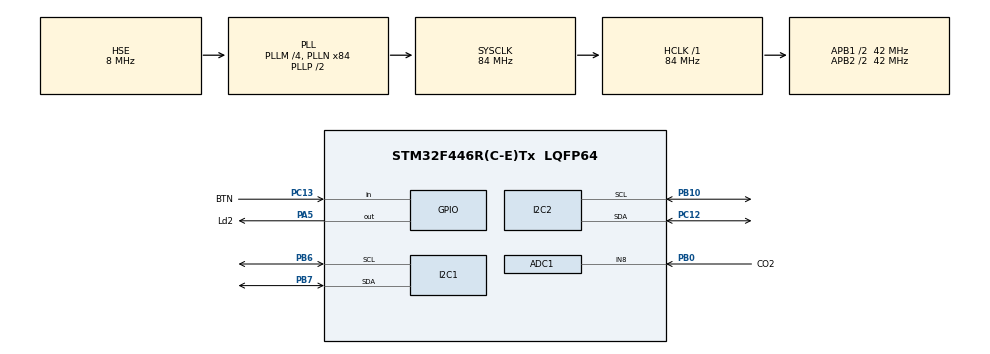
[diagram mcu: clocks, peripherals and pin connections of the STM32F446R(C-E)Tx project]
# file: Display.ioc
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ADC1.Channel-0\#ChannelRegularConversion=ADC_CHANNEL_8
ADC1.ClockPrescaler=ADC_CLOCK_SYNC_PCLK_DIV8
ADC1.NbrOfConversionFlag=1
ADC1.Rank-0\#ChannelRegularConversion=1
ADC1.SamplingTime-0\#ChannelRegularConversion=ADC_SAMPLETIME_3CYCLES
ADC1.master=1
I2C1.I2C_Mode=I2C_Fast
I2C2.I2C_Mode=I2C_Fast
Mcu.Family=STM32F4
Mcu.Name=STM32F446R(C-E)Tx
Mcu.Package=LQFP64
NVIC.PriorityGroup=NVIC_PRIORITYGROUP_0
PA5.GPIO_Label=Ld2
PA5.PinState=GPIO_PIN_RESET
PA5.Signal=GPIO_Output
PB0.GPIO_Label=CO2
PB0.Signal=ADCx_IN8
PB10.Mode=I2C
PB10.Signal=I2C2_SCL
PB6.Mode=I2C
PB6.Signal=I2C1_SCL
PB7.Mode=I2C
PB7.Signal=I2C1_SDA
PC12.Mode=I2C
PC12.Signal=I2C2_SDA
PC13.GPIO_Label=BTN
PC13.GPIO_Mode=GPIO_MODE_INPUT
PC13.GPIO_PuPd=GPIO_NOPULL
PC13.Signal=GPIO_Input
PH0-OSC_IN.Mode=HSE-External-Oscillator
PH0-OSC_IN.Signal=RCC_OSC_IN
PH1-OSC_OUT.Mode=HSE-External-Oscillator
PH1-OSC_OUT.Signal=RCC_OSC_OUT
ProjectManager.HeapSize=0x200
ProjectManager.StackSize=0x400
ProjectManager.TargetToolchain=STM32CubeIDE
RCC.48MHZClocksFreq_Value=84000000
RCC.AHBFreq_Value=84000000
RCC.APB1CLKDivider=RCC_HCLK_DIV2
RCC.APB1Freq_Value=42000000
RCC.APB1TimFreq_Value=84000000
RCC.APB2CLKDivider=RCC_HCLK_DIV2
RCC.APB2Freq_Value=42000000
RCC.APB2TimFreq_Value=84000000
RCC.CortexFreq_Value=84000000
RCC.FLatency-AdvancedSettings=FLASH_LATENCY_2
RCC.HCLKFreq_Value=84000000
RCC.HSE_VALUE=8000000
RCC.HSI_VALUE=16000000
RCC.LSE_VALUE=32742
RCC.PLLM=4
RCC.PLLN=84
RCC.PLLSourceVirtual=RCC_PLLSOURCE_HSE
RCC.SYSCLKFreq_VALUE=84000000
RCC.SYSCLKSource=RCC_SYSCLKSOURCE_PLLCLK
RCC.USBFreq_Value=84000000
RCC.VCOOutputFreq_Value=168000000
SH.ADCx_IN8.0=ADC1_IN8,IN8
board=NUCLEO-F446RE

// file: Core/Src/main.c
/* USER CODE BEGIN Header */
/**
 ******************************************************************************
 * @file           : main.c
 * @brief          : Main program body
 ******************************************************************************
 * @attention
 *
 * <h2><center>&copy; Copyright (c) 2020 STMicroelectronics.
 * All rights reserved.</center></h2>
 *
 * This software component is licensed by ST under BSD 3-Clause license,
 * the "License"; You may not use this file except in compliance with the
 * License. You may obtain a copy of the License at:
 *                        opensource.org/licenses/BSD-3-Clause
 *
 ******************************************************************************
 */
/* USER CODE END Header */

#include "main.h"

/* USER CODE BEGIN Includes */
#include "ssd1306.h"
#include "mq135.h"
#include "fonts.h"
#include "image.h"
#include <string.h>
#include "BME280.h"
#include <stdio.h>
/* USER CODE END Includes */

/* USER CODE BEGIN PD */
#define SSD1306_128X64
/* USER CODE END PD */

ADC_HandleTypeDef hadc1;

I2C_HandleTypeDef hi2c1;
I2C_HandleTypeDef hi2c2;

/* USER CODE BEGIN PV */
char str1[100];
/* USER CODE END PV */

void SystemClock_Config(void);
static void MX_GPIO_Init(void);
static void MX_I2C1_Init(void);
static void MX_I2C2_Init(void);
static void MX_ADC1_Init(void);

int main(void)
{
  /* USER CODE BEGIN 1 */
	float tf = 0.0f, pf = 0.0f, af = 0.0f, hf = 0.0f, co2 = 0.0f;
	int val = 0;
  /* USER CODE END 1 */

  /* MCU Configuration--------------------------------------------------------*/

  /* Reset of all peripherals, Initializes the Flash interface and the Systick. */
  HAL_Init();

  /* Configure the system clock */
  SystemClock_Config();

  /* Initialize all configured peripherals */
  MX_GPIO_Init();
  MX_I2C1_Init();
  MX_I2C2_Init();
  MX_ADC1_Init();
  /* USER CODE BEGIN 2 */

	ssd1306_Init();
	ssd1306_FlipScreenVertically();
	ssd1306_SetColor(White);
	ssd1306_SetCursor(0, 0);
	ssd1306_UpdateScreen();

	BME280_Init();

	int btn = 0;
	float co2_a[10];
	float co2_old = 0;
	int iter = 0;
  /* USER CODE END 2 */

  /* Infinite loop */
  /* USER CODE BEGIN WHILE */
	while (1) {
		ssd1306_Clear();
		ssd1306_SetCursor(0, 0);
		HAL_ADC_Start(&hadc1);
		HAL_ADC_PollForConversion(&hadc1, 100);
		val = HAL_ADC_GetValue(&hadc1);
		HAL_ADC_Stop(&hadc1);
		tf = BME280_ReadTemperature();
		pf = BME280_ReadPressure();
		hf = BME280_ReadHumidity();
		af = BME280_ReadAltitude(SEALEVELPRESSURE_PA);
		co2_old = co2;
		co2_a[iter] = getCorrectedRZero(tf, hf, val);
		co2 = 0;
		for(int i = 0; i<10; i++ ){
			co2 += co2_a[i]/10;
		}
		co2 = (co2+co2_old)/2;
		switch (btn) {
		default:
			btn = 0;

		case 0:
			ssd1306_SetCursor(0, 0);
			ssd1306_WriteString("Temperature:", Font_11x18);
			sprintf(str1, "%.3f *C", tf);
			ssd1306_SetCursor(0, 25);
			ssd1306_WriteString(str1, Font_11x18);
			break;

		case 1:
			ssd1306_SetCursor(0, 0);
			ssd1306_WriteString("Pressure:", Font_11x18);
			sprintf(str1, "%.2fPa", pf);
			ssd1306_SetCursor(0, 25);
			ssd1306_WriteString(str1, Font_11x18);
			break;

		case 2:
			ssd1306_SetCursor(0, 0);
			ssd1306_WriteString("Pressure:", Font_11x18);
			sprintf(str1, "%.3fmmHg", pf * 0.000750061683f);
			ssd1306_SetCursor(0, 25);
			ssd1306_WriteString(str1, Font_11x18);
			break;

		case 3:
			ssd1306_SetCursor(0, 0);
			ssd1306_WriteString("Humidity:", Font_11x18);
			sprintf(str1, "%.3f %%", hf);
			ssd1306_SetCursor(0, 25);
			ssd1306_WriteString(str1, Font_11x18);
			break;

		case 4:
			ssd1306_SetCursor(0, 0);
			ssd1306_WriteString("Altitude:", Font_11x18);
			sprintf(str1, "%.3f m", af);
			ssd1306_SetCursor(0, 25);
			ssd1306_WriteString(str1, Font_11x18);
			break;

		case 5:
			ssd1306_SetCursor(0, 0);
			ssd1306_WriteString("CO2:", Font_11x18);
			sprintf(str1, "%.3f ppm", co2);
			ssd1306_SetCursor(0, 25);
			ssd1306_WriteString(str1, Font_11x18);
			break;
		}
		ssd1306_UpdateScreen();
		HAL_Delay(1000);
		if (!HAL_GPIO_ReadPin(BTN_GPIO_Port, BTN_Pin)) {
			btn++;
			HAL_GPIO_TogglePin(Ld2_GPIO_Port, Ld2_Pin);
		}
		iter++;
		if (iter == 10) {
			iter = 0;
		}
    /* USER CODE END WHILE */

	}
}

void SystemClock_Config(void)
{
  RCC_OscInitTypeDef RCC_OscInitStruct = {0};
  RCC_ClkInitTypeDef RCC_ClkInitStruct = {0};

  /** Configure the main internal regulator output voltage
  */
  __HAL_RCC_PWR_CLK_ENABLE();
  __HAL_PWR_VOLTAGESCALING_CONFIG(PWR_REGULATOR_VOLTAGE_SCALE3);
  /** Initializes the CPU, AHB and APB busses clocks
  */
  RCC_OscInitStruct.OscillatorType = RCC_OSCILLATORTYPE_HSE;
  RCC_OscInitStruct.HSEState = RCC_HSE_ON;
  RCC_OscInitStruct.PLL.PLLState = RCC_PLL_ON;
  RCC_OscInitStruct.PLL.PLLSource = RCC_PLLSOURCE_HSE;
  RCC_OscInitStruct.PLL.PLLM = 4;
  RCC_OscInitStruct.PLL.PLLN = 84;
  RCC_OscInitStruct.PLL.PLLP = RCC_PLLP_DIV2;
  RCC_OscInitStruct.PLL.PLLQ = 2;
  RCC_OscInitStruct.PLL.PLLR = 2;
  if (HAL_RCC_OscConfig(&RCC_OscInitStruct) != HAL_OK)
  {
    Error_Handler();
  }
  /** Initializes the CPU, AHB and APB busses clocks
  */
  RCC_ClkInitStruct.ClockType = RCC_CLOCKTYPE_HCLK|RCC_CLOCKTYPE_SYSCLK
                              |RCC_CLOCKTYPE_PCLK1|RCC_CLOCKTYPE_PCLK2;
  RCC_ClkInitStruct.SYSCLKSource = RCC_SYSCLKSOURCE_PLLCLK;
  RCC_ClkInitStruct.AHBCLKDivider = RCC_SYSCLK_DIV1;
  RCC_ClkInitStruct.APB1CLKDivider = RCC_HCLK_DIV2;
  RCC_ClkInitStruct.APB2CLKDivider = RCC_HCLK_DIV2;

  if (HAL_RCC_ClockConfig(&RCC_ClkInitStruct, FLASH_LATENCY_2) != HAL_OK)
  {
    Error_Handler();
  }
}

static void MX_ADC1_Init(void)
{

  ADC_ChannelConfTypeDef sConfig = {0};

  /** Configure the global features of the ADC (Clock, Resolution, Data Alignment and number of conversion)
  */
  hadc1.Instance = ADC1;
  hadc1.Init.ClockPrescaler = ADC_CLOCK_SYNC_PCLK_DIV8;
  hadc1.Init.Resolution = ADC_RESOLUTION_12B;
  hadc1.Init.ScanConvMode = DISABLE;
  hadc1.Init.ContinuousConvMode = DISABLE;
  hadc1.Init.DiscontinuousConvMode = DISABLE;
  hadc1.Init.ExternalTrigConvEdge = ADC_EXTERNALTRIGCONVEDGE_NONE;
  hadc1.Init.ExternalTrigConv = ADC_SOFTWARE_START;
  hadc1.Init.DataAlign = ADC_DATAALIGN_RIGHT;
  hadc1.Init.NbrOfConversion = 1;
  hadc1.Init.DMAContinuousRequests = DISABLE;
  hadc1.Init.EOCSelection = ADC_EOC_SINGLE_CONV;
  if (HAL_ADC_Init(&hadc1) != HAL_OK)
  {
    Error_Handler();
  }
  /** Configure for the selected ADC regular channel its corresponding rank in the sequencer and its sample time.
  */
  sConfig.Channel = ADC_CHANNEL_8;
  sConfig.Rank = 1;
  sConfig.SamplingTime = ADC_SAMPLETIME_3CYCLES;
  if (HAL_ADC_ConfigChannel(&hadc1, &sConfig) != HAL_OK)
  {
    Error_Handler();
  }

}

static void MX_I2C1_Init(void)
{

  hi2c1.Instance = I2C1;
  hi2c1.Init.ClockSpeed = 400000;
  hi2c1.Init.DutyCycle = I2C_DUTYCYCLE_2;
  hi2c1.Init.OwnAddress1 = 0;
  hi2c1.Init.AddressingMode = I2C_ADDRESSINGMODE_7BIT;
  hi2c1.Init.DualAddressMode = I2C_DUALADDRESS_DISABLE;
  hi2c1.Init.OwnAddress2 = 0;
  hi2c1.Init.GeneralCallMode = I2C_GENERALCALL_DISABLE;
  hi2c1.Init.NoStretchMode = I2C_NOSTRETCH_DISABLE;
  if (HAL_I2C_Init(&hi2c1) != HAL_OK)
  {
    Error_Handler();
  }

}

static void MX_I2C2_Init(void)
{

  hi2c2.Instance = I2C2;
  hi2c2.Init.ClockSpeed = 400000;
  hi2c2.Init.DutyCycle = I2C_DUTYCYCLE_2;
  hi2c2.Init.OwnAddress1 = 0;
  hi2c2.Init.AddressingMode = I2C_ADDRESSINGMODE_7BIT;
  hi2c2.Init.DualAddressMode = I2C_DUALADDRESS_DISABLE;
  hi2c2.Init.OwnAddress2 = 0;
  hi2c2.Init.GeneralCallMode = I2C_GENERALCALL_DISABLE;
  hi2c2.Init.NoStretchMode = I2C_NOSTRETCH_DISABLE;
  if (HAL_I2C_Init(&hi2c2) != HAL_OK)
  {
    Error_Handler();
  }

}

static void MX_GPIO_Init(void)
{
  GPIO_InitTypeDef GPIO_InitStruct = {0};

  /* GPIO Ports Clock Enable */
  __HAL_RCC_GPIOC_CLK_ENABLE();
  __HAL_RCC_GPIOH_CLK_ENABLE();
  __HAL_RCC_GPIOA_CLK_ENABLE();
  __HAL_RCC_GPIOB_CLK_ENABLE();

  /*Configure GPIO pin Output Level */
  HAL_GPIO_WritePin(Ld2_GPIO_Port, Ld2_Pin, GPIO_PIN_RESET);

  /*Configure GPIO pin : BTN_Pin */
  GPIO_InitStruct.Pin = BTN_Pin;
  GPIO_InitStruct.Mode = GPIO_MODE_INPUT;
  GPIO_InitStruct.Pull = GPIO_NOPULL;
  HAL_GPIO_Init(BTN_GPIO_Port, &GPIO_InitStruct);

  /*Configure GPIO pin : Ld2_Pin */
  GPIO_InitStruct.Pin = Ld2_Pin;
  GPIO_InitStruct.Mode = GPIO_MODE_OUTPUT_PP;
  GPIO_InitStruct.Pull = GPIO_NOPULL;
  GPIO_InitStruct.Speed = GPIO_SPEED_FREQ_LOW;
  HAL_GPIO_Init(Ld2_GPIO_Port, &GPIO_InitStruct);

}

void Error_Handler(void)
{
}

/************************ (C) COPYRIGHT STMicroelectronics *****END OF FILE****/
